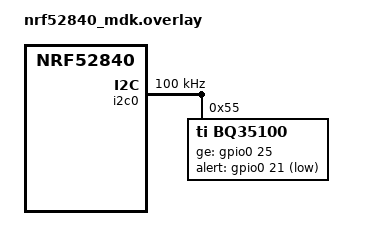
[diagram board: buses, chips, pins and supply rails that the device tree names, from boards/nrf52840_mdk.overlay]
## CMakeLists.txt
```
#
#  Copyright (c) 2021 arithmetics.io
#
#  SPDX-License-Identifier: Apache-2.0

cmake_minimum_required(VERSION 3.20.0)
find_package(Zephyr HINTS $ENV{ZEPHYR_BASE})
project(bq35100)

FILE(GLOB app_sources src/*.c)
target_sources(app PRIVATE ${app_sources})
```

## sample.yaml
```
sample:
  name: bq35100 sample
  description: BQ35100 sample application
tests:
  sample.sensor.bq35100:
    harness: sensor
    tags: sensors
    platform_allow: nrf52840_mdk
    integration_platforms:
      - nrf52840_mdk
```

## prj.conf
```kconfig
CONFIG_LOG=y
CONFIG_SENSOR_LOG_LEVEL_DBG=y
CONFIG_I2C=y
CONFIG_SENSOR=y
CONFIG_PM_DEVICE=n
CONFIG_NEWLIB_LIBC=y
CONFIG_NEWLIB_LIBC_FLOAT_PRINTF=y

CONFIG_BQ35100=y
```

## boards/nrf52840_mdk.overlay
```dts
/*
 * Copyright (c) 2021 arithmetics.io
 *
 * SPDX-License-Identifier: Apache-2.0
 */

&i2c0 {
	clock-frequency = <I2C_BITRATE_STANDARD>;
	bq35100@55 {
		compatible = "ti,bq35100";
		reg = <0x55>;
		label = "BQ35100";
		ge-gpios = <&gpio0 25 GPIO_ACTIVE_HIGH>;
		alert-gpios = <&gpio0 21 GPIO_ACTIVE_LOW>;
	};
};
```

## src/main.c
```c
/*
 * Copyright (c) 2021 arithmetics.io
 *
 * SPDX-License-Identifier: Apache-2.0
 */

#include <zephyr.h>
#include <device.h>
#include <sys/util.h>
#include <drivers/sensor.h>
#include "drivers/sensor/bq35100.h"
#include <stdio.h>


#ifdef CONFIG_PM_DEVICE
static void pm_info(enum pm_device_state state, int status)
{
	switch (state) {
	case PM_DEVICE_STATE_ACTIVE:
		printk("Enter ACTIVE_STATE ");
		break;
	case PM_DEVICE_STATE_OFF:
		printk("Enter OFF_STATE ");
		break;
	}

	if (status) {
		printk("Fail\n");
	} else {
		printk("Success\n");
	}
}
#endif

#define DEVICE_NODE DT_COMPAT_GET_ANY_STATUS_OKAY(ti_bq35100)

void main(void)
{
	struct sensor_value val;

	const struct device *dev = DEVICE_DT_GET(DEVICE_NODE);

	if (!device_is_ready(dev)) {
		printk("Device %s is not ready\n", dev->name);
		return;
	}

#ifdef CONFIG_PM_DEVICE
	/* Testing the power modes */
	enum pm_device_state p_state;
	int ret;

	p_state = PM_DEVICE_STATE_OFF;
	ret = pm_device_state_set(dev, p_state);
	pm_info(p_state, ret);
	k_sleep(K_MSEC(1000));

	p_state = PM_DEVICE_STATE_ACTIVE;
	ret = pm_device_state_set(dev, p_state);
	pm_info(p_state, ret);
#endif

	/* example of how you can call function in the driver from main.
	If you need to pass parameters use val1 and val2.
	SENSOR_ATTR_BQ35100_EXAMPLE1 is just as an example. You could create
	e.g. SENSOR_ATTR_BQ35100_GAUGE_START to start the gauge and so on. */
	/*val.val1 = 1;
	val.val2 = 2;
	sensor_attr_set(dev, SENSOR_CHAN_ALL, SENSOR_ATTR_BQ35100_EXAMPLE1, &val);*/


	while (1) {
		if (sensor_sample_fetch(dev) < 0) {
			printk("Sample fetch failed\n");
			return;
		}

		sensor_channel_get(dev, SENSOR_CHAN_GAUGE_TEMP, &val);
		printf("Temperature:    %2.1f  C\n", sensor_value_to_double(&val));

		sensor_channel_get(dev, SENSOR_CHAN_BQ35100_GAUGE_INT_TEMP, &val);
		printf("Internal Temp:  %2.1f  C\n", sensor_value_to_double(&val));
		
		sensor_channel_get(dev, SENSOR_CHAN_GAUGE_VOLTAGE, &val);
		printf("Voltage:        %1.3f V\n", sensor_value_to_double(&val));
	
		sensor_channel_get(dev, SENSOR_CHAN_GAUGE_AVG_CURRENT, &val);
		printf("Current:        %i   mA\n", val.val1);

		sensor_channel_get(dev, SENSOR_CHAN_GAUGE_STATE_OF_HEALTH, &val);
		printf("State of Health:%i   %%\n", val.val1);

		sensor_channel_get(dev, SENSON_CHAN_BQ35100_GAUGE_DES_CAP, &val);
		printf("Design Capacity:%i  mAh\n", val.val1);

		sensor_channel_get(dev, SENSOR_CHAN_GAUGE_ACCUMULATED_CAPACITY, &val);
		printf("Acc Capacity :  %.3f mAh\n\n", sensor_value_to_double(&val));

		k_sleep(K_MSEC(3000));
	}
}
```
